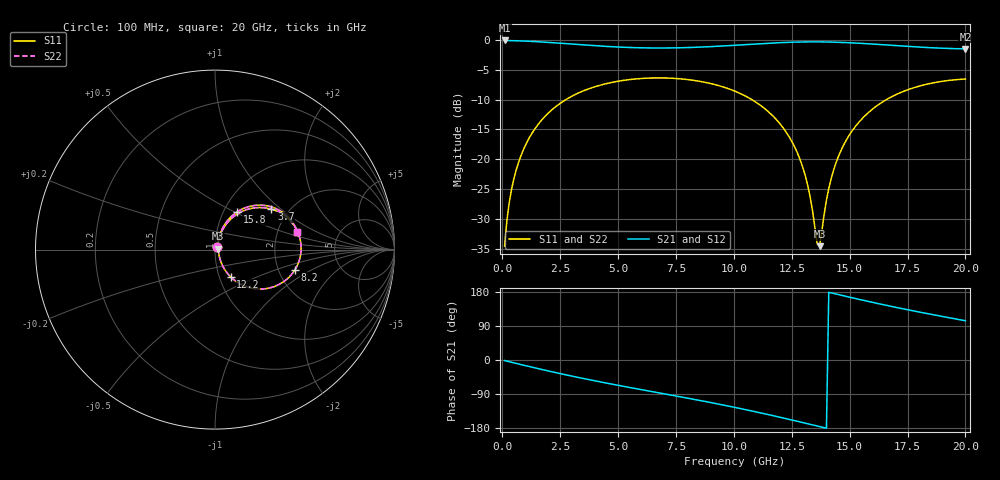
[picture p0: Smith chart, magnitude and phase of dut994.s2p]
! Touchstone file exported from HFSS 2026.1.0
!  File:  C:/ffzhzh/LocalFiles/Ansys_Project_Files/temp_train_TSV_RDL_994_1783288977_30076.aedt
!  Generated:  06:12:51 AM Jul  6, 2026
!  Design:  TSV_RDL
!  Project:  temp_train_TSV_RDL_994_1783288977_30076
! Variables:
!  h_bsmrdl = 5.74um
!  h_ox = 20um
!  h_rdl = 5um
!  h_sub = 93.24um
!  h_tmrdl = 4.65um
!  h_tsv = 93.24um
!  h_via = 3um
!  l_bsmrdl = 621.82um
!  l_sub = 4236.59um
!  l_tmrdl = 455.23um
!  m_sub = 200um
!  pitch = 53.56um
!  r_tsv = 9.14um
!  s_tmrdl = 10um
!  w_bsmrdl = 26.6um
!  w_sub = 500um
!  w_tmrdl = 23.47um
!  x_tsv_center1 = 466.965um
!  x_tsv_center2 = 1115.385um
!  x_tsv_center3 = 1594.085um
!  x_tsv_center4 = 2242.505um
!  x_tsv_center5 = 2721.205um
!  x_tsv_center6 = 3369.625um
# GHz S MA R 50.000000
! Terminal data exported
! Port[1] = TM_RDL1_1_T1
! Port[2] = TM_RDL5_1_T1
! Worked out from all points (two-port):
!   200 points, 100 MHz to 20 GHz, reference 50 ohm
!   highest |S21| = -0.11 dB at 100 MHz (marker M1); lowest = -1.5 dB at 20 GHz (marker M2)
!   |S21| within 3 dB of the highest: start of sweep to end of sweep
!   lowest |S11| = -34.6 dB at 13.7 GHz (marker M3), VSWR 1.04, Z = 51.8 + j0.598 ohm
!   |S11| at or under -10 dB: start of sweep to 2.753 GHz; 10.77 GHz to 16.59 GHz (5.822 GHz wide, 42.6 % of centre)
!   |S22| runs from -34.6 to -6.4 dB; largest |S21 - S12| = 1.7e-14
!   S11 on the Smith chart (normalised r, x): 100 MHz: 1.02, +0.03; 3.7 GHz: 1.63, +0.86; 8.2 GHz: 2.47, -0.70; 12.2 GHz: 1.13, -0.36; 15.8 GHz: 1.16, +0.52; 20 GHz: 2.58, +0.65
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0.1  0.01872 48.3  0.9878 -1.6  0.9878 -1.6  0.01872 48.3
! Gamma 0 0 0 0
! Port Impedance 50 0 50 0
0.2  0.03085 62.3  0.9867 -3.1  0.9867 -3.1  0.03085 62.3
0.4  0.05604 69.3  0.9845 -6.1  0.9845 -6.1  0.05604 69.3
0.7  0.09379 70.2  0.9807 -10.5  0.9807 -10.5  0.09379 70.2
1.1  0.1432 67.2  0.9738 -16.3  0.9738 -16.3  0.1432 67.2
2.1  0.2551 55.4  0.9483 -30.5  0.9483 -30.5  0.2551 55.4
3.5  0.3736 38.0  0.9061 -48.8  0.9061 -48.8  0.3736 38.0
3.7  0.3867 35.6  0.9004 -51.3  0.9004 -51.3  0.3867 35.6
6.8  0.4798 1.1  0.8539 -87.1  0.8539 -87.1  0.4798 1.1
8.2  0.4596 -14.1  0.8637 -102.9  0.8637 -102.9  0.4596 -14.1
10.1  0.3677 -35.8  0.9021 -125.8  0.9021 -125.8  0.3678 -35.7
12.2  0.1753 -60.2  0.9503 -154.0  0.9503 -154.0  0.1753 -60.1
12.9  0.09462 -64.9  0.959 -164.0  0.959 -164.0  0.09467 -64.8
13.4  0.03675 -53.5  0.9613 -171.2  0.9613 -171.2  0.03688 -53.2
13.6  0.01952 -18.1  0.9612 -174.1  0.9612 -174.1  0.01974 -17.9
13.7  0.01871 18.0  0.9609 -175.6  0.9609 -175.6  0.01893 17.7
14  0.04546 65.1  0.9593 -179.9  0.9593 -179.9  0.04554 64.8
14.4  0.09189 71.5  0.9551 174.3  0.9551 174.3  0.09193 71.4
15  0.1608 68.1  0.9452 165.7  0.9452 165.7  0.1608 68.0
15.8  0.2449 59.5  0.9268 154.7  0.9268 154.7  0.2449 59.5
16.7  0.3248 49.0  0.9025 142.8  0.9025 142.8  0.3248 49.0
20  0.4695 12.2  0.8404 103.6  0.8404 103.6  0.4694 12.2
